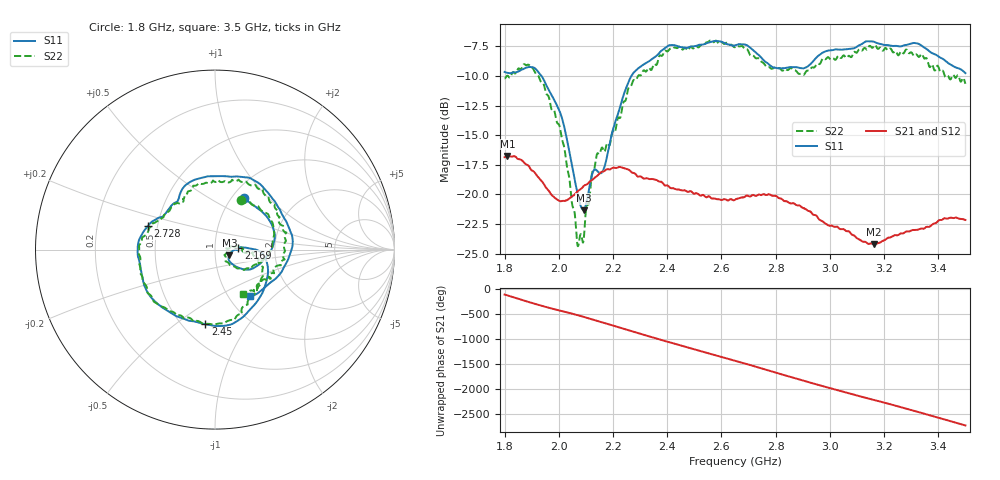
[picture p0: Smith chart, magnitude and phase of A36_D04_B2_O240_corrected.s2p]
! Created with skrf 1.9.0 (http://scikit-rf.org).
# Hz S RI R 50.0
!freq ReS11 ImS11 ReS21 ImS21 ReS12 ImS12 ReS22 ImS22
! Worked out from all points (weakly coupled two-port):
!   1601 points, 1.8 GHz to 3.5 GHz, reference 50 ohm
!   highest |S21| = -16.75 dB at 1.811 GHz (marker M1); lowest = -24.2 dB at 3.163 GHz (marker M2)
!   lowest |S11| = -21.3 dB at 2.091 GHz (marker M3), VSWR 1.19, Z = 58.6 - j3.67 ohm
!   |S11| at or under -10 dB: 1.936 GHz to 2.267 GHz (331.3 MHz wide, 15.8 % of centre)
!   |S22| runs from -24.4 to -7.0 dB; largest |S21 - S12| = 0.0023
!   S11 on the Smith chart (normalised r, x): 1.8 GHz: 1.14, +0.73; 2.169 GHz: 1.30, +0.02; 2.45 GHz: 0.64, -0.65; 2.728 GHz: 0.44, +0.14; 3.5 GHz: 1.26, -0.73
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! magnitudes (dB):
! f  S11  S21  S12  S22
! 1.8 GHz  -9.6  -16.8  -16.8  -10.2
! 1.811 GHz  -9.7  -16.7  -16.7  -10.0
! 1.883 GHz  -9.3  -17.5  -17.5  -9.1
! 1.942 GHz  -10.2  -19.0  -19.0  -10.6
! 2.011 GHz  -13.5  -20.5  -20.5  -15.3
! 2.068 GHz  -19.8  -19.8  -19.8  -24.1
! 2.084 GHz  -21.1  -19.5  -19.4  -23.5
! 2.091 GHz  -21.3  -19.3  -19.3  -23.9
! 2.13 GHz  -17.9  -18.6  -18.6  -17.9
! 2.169 GHz  -17.6  -18.0  -18.0  -16.4
! 2.203 GHz  -14.3  -17.7  -17.7  -14.7
! 2.262 GHz  -10.2  -18.0  -18.0  -10.9
! 2.367 GHz  -8.1  -18.9  -18.8  -8.6
! 2.45 GHz  -7.5  -19.6  -19.6  -7.6
! 2.65 GHz  -7.4  -20.4  -20.4  -7.6
! 2.728 GHz  -8.0  -20.1  -20.1  -8.5
! 2.8 GHz  -9.3  -20.1  -20.1  -9.3
! 2.934 GHz  -8.9  -21.6  -21.6  -9.3
! 3.163 GHz  -7.1  -24.2  -24.2  -7.4
! 3.217 GHz  -7.4  -23.6  -23.6  -7.8
! 3.325 GHz  -7.3  -23.0  -22.9  -8.3
! 3.5 GHz  -9.8  -22.2  -22.1  -10.7
